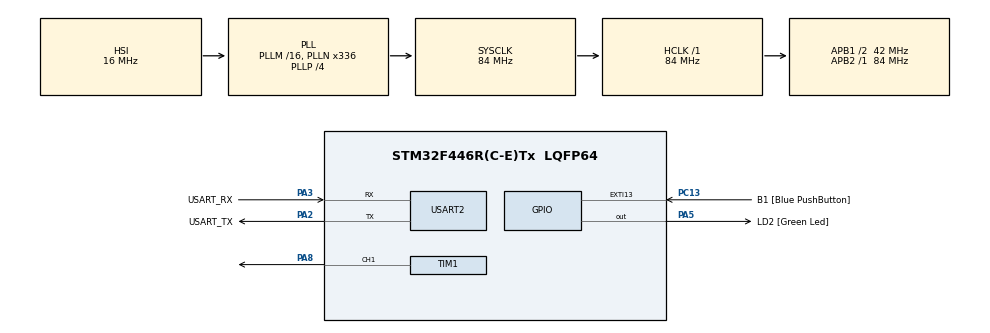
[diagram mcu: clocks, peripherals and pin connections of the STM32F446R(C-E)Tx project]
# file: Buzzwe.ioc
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Mcu.Family=STM32F4
Mcu.Name=STM32F446R(C-E)Tx
Mcu.Package=LQFP64
NVIC.PriorityGroup=NVIC_PRIORITYGROUP_0
PA13.GPIO_Label=TMS
PA13.Mode=Serial_Wire
PA13.Signal=SYS_JTMS-SWDIO
PA14.GPIO_Label=TCK
PA14.Mode=Serial_Wire
PA14.Signal=SYS_JTCK-SWCLK
PA2.GPIO_Label=USART_TX
PA2.Mode=Asynchronous
PA2.Signal=USART2_TX
PA3.GPIO_Label=USART_RX
PA3.Mode=Asynchronous
PA3.Signal=USART2_RX
PA5.GPIO_Label=LD2 [Green Led]
PA5.Signal=GPIO_Output
PA8.Signal=S_TIM1_CH1
PB3.GPIO_Label=SWO
PB3.Signal=SYS_JTDO-SWO
PC13.GPIO_Label=B1 [Blue PushButton]
PC13.GPIO_ModeDefaultEXTI=GPIO_MODE_IT_FALLING
PC13.Signal=GPXTI13
PC14-OSC32_IN.Signal=RCC_OSC32_IN
PC15-OSC32_OUT.Signal=RCC_OSC32_OUT
PH0-OSC_IN.Signal=RCC_OSC_IN
PH1-OSC_OUT.Signal=RCC_OSC_OUT
ProjectManager.HeapSize=0x200
ProjectManager.StackSize=0x400
ProjectManager.TargetToolchain=STM32CubeIDE
RCC.48MHZClocksFreq_Value=84000000
RCC.AHBFreq_Value=84000000
RCC.APB1CLKDivider=RCC_HCLK_DIV2
RCC.APB1Freq_Value=42000000
RCC.APB1TimFreq_Value=84000000
RCC.APB2Freq_Value=84000000
RCC.APB2TimFreq_Value=84000000
RCC.CortexFreq_Value=84000000
RCC.FLatency-AdvancedSettings=FLASH_LATENCY_2
RCC.HCLKFreq_Value=84000000
RCC.HSE_VALUE=8000000
RCC.HSI_VALUE=16000000
RCC.PLLN=336
RCC.PLLP=RCC_PLLP_DIV4
RCC.SYSCLKFreq_VALUE=84000000
RCC.SYSCLKSource=RCC_SYSCLKSOURCE_PLLCLK
RCC.USBFreq_Value=168000000
RCC.VCOOutputFreq_Value=336000000
SH.S_TIM1_CH1.0=TIM1_CH1,PWM Generation1 CH1
TIM1.Channel-PWM\ Generation1\ CH1=TIM_CHANNEL_1
TIM1.Period=1000
TIM1.Prescaler=84-1
TIM1.Pulse-PWM\ Generation1\ CH1=500
USART2.VirtualMode=VM_ASYNC
VP_TIM1_VS_ClockSourceINT.Mode=Internal
board=NUCLEO-F446RE

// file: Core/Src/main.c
/* USER CODE BEGIN Header */
/**
  ******************************************************************************
  * @file           : main.c
  * @brief          : Main program body
  ******************************************************************************
  * @attention
  *
  * Copyright (c) 2026 STMicroelectronics.
  * All rights reserved.
  *
  * This software is licensed under terms that can be found in the LICENSE file
  * in the root directory of this software component.
  * If no LICENSE file comes with this software, it is provided AS-IS.
  *
  ******************************************************************************
  */
/* USER CODE END Header */
#include "main.h"

/* USER CODE BEGIN PD */
#define NOTE_C4  262
#define NOTE_CS4 277
#define NOTE_D4  294
#define NOTE_DS4 311
#define NOTE_E4  330
#define NOTE_F4  349
#define NOTE_FS4 370
#define NOTE_G4  392
#define NOTE_GS4 415
#define NOTE_A4  440
#define NOTE_AS4 466
#define NOTE_B4  494
#define NOTE_C5  523
#define NOTE_CS5 554
#define NOTE_D5  587
#define NOTE_DS5 622
#define NOTE_E5  659
#define NOTE_F5  698
#define NOTE_FS5 740
#define NOTE_G5  784
#define NOTE_GS5 831
#define NOTE_A5  880
#define NOTE_AS5 932
#define NOTE_B5  988
#define NOTE_C6  1047
#define NOTE_CS6 1109
#define NOTE_D6  1175
#define NOTE_DS6 1245
#define NOTE_E6  1319
#define NOTE_F6  1397
#define NOTE_FS6 1480
#define NOTE_G6  1568
#define NOTE_GS6 1661
#define NOTE_A6  1760
#define NOTE_AS6 1865
#define NOTE_B6  1976
#define NOTE_C7  2093
#define NOTE_CS7 2217
#define NOTE_D7  2349
#define NOTE_DS7 2489
#define NOTE_E7  2637
#define NOTE_F7  2794
#define NOTE_FS7 2960
#define NOTE_G7  3136
#define NOTE_GS7 3322
#define NOTE_A7  3520
#define NOTE_AS7 3729
#define NOTE_B7  3951
#define NOTE_AS3 233 // A#3 또는 Bb3
#define NOTE_B3  247 // B3
#define REST 0

// 음표 길이 정의 (밀리초)
#define WHOLE     1400      // 원래 2000
#define HALF      700       // 원래 1000
#define QUARTER 250      // 원래 500
#define EIGHTH  125       // 원래 250
#define SIXTEENTH 90        // 원래 125
/* USER CODE END PD */

TIM_HandleTypeDef htim1;

UART_HandleTypeDef huart2;

void SystemClock_Config(void);
static void MX_GPIO_Init(void);
static void MX_USART2_UART_Init(void);
static void MX_TIM1_Init(void);
/* USER CODE BEGIN PFP */
typedef struct {
    uint16_t frequency;
    uint16_t duration;
} Note;

const Note sans_theme[] = {
		{NOTE_D4, EIGHTH}, {NOTE_D4, EIGHTH}, {NOTE_D5, QUARTER}, {NOTE_A4, QUARTER},
		    {REST, EIGHTH}, {NOTE_GS4, EIGHTH}, {NOTE_G4, EIGHTH}, {NOTE_F4, EIGHTH},
		    {NOTE_D4, EIGHTH}, {NOTE_F4, EIGHTH}, {NOTE_G4, EIGHTH},

		    // 두 번째 구절
		    {NOTE_C4, EIGHTH}, {NOTE_C4, EIGHTH}, {NOTE_D5, QUARTER}, {NOTE_A4, QUARTER},
		    {REST, EIGHTH}, {NOTE_GS4, EIGHTH}, {NOTE_G4, EIGHTH}, {NOTE_F4, EIGHTH},
		    {NOTE_D4, EIGHTH}, {NOTE_F4, EIGHTH}, {NOTE_G4, EIGHTH},

		    // 세 번째 구절
		    {NOTE_B3, EIGHTH}, {NOTE_B3, EIGHTH}, {NOTE_D5, QUARTER}, {NOTE_A4, QUARTER},
		    {REST, EIGHTH}, {NOTE_GS4, EIGHTH}, {NOTE_G4, EIGHTH}, {NOTE_F4, EIGHTH},
		    {NOTE_D4, EIGHTH}, {NOTE_F4, EIGHTH}, {NOTE_G4, EIGHTH},

		    // 네 번째 구절
		    {NOTE_AS3, EIGHTH}, {NOTE_AS3, EIGHTH}, {NOTE_D5, QUARTER}, {NOTE_A4, QUARTER},
		    {REST, EIGHTH}, {NOTE_GS4, EIGHTH}, {NOTE_G4, EIGHTH}, {NOTE_F4, EIGHTH},
		    {NOTE_D4, EIGHTH}, {NOTE_F4, EIGHTH}, {NOTE_G4, EIGHTH}
};

const int sans_theme_length = sizeof(sans_theme) / sizeof(sans_theme[0]);

/* USER CODE END PV */
/* USER CODE BEGIN PFP */
void play_tone(uint16_t frequency, uint16_t duration);
void play_sans_theme(void) {
    for (int i = 0; i < sans_theme_length; i++) {
        play_tone(sans_theme[i].frequency, sans_theme[i].duration);
    }
}
/* USER CODE END PFP */

/* USER CODE BEGIN 0 */

void play_tone(uint16_t frequency, uint16_t duration) {
    if (frequency == 0) {
        // 무음일 때만 출력 정지
        __HAL_TIM_SET_COMPARE(&htim1, TIM_CHANNEL_1, 0);
    } else {
        uint32_t arr_value = 1000000 / frequency - 1;

        // 16비트 범위 제한 (혹시 모를 오버플로우 방지)
        if (arr_value > 65535) arr_value = 65535;

        __HAL_TIM_SET_AUTORELOAD(&htim1, arr_value);
        // Duty Cycle을 50%로 설정
        __HAL_TIM_SET_COMPARE(&htim1, TIM_CHANNEL_1, arr_value / 2);

        // PWM이 이미 켜져 있다면 굳이 Start를 다시 부를 필요가 없습니다.
    }

    HAL_Delay(duration);

    // 여기에서 PWM_Stop을 지워보세요.
    // 그러면 파형이 끊기지 않고 다음 음으로 바로 넘어갑니다.
}

/**
 * @brief 마리오 테마 음악 재생
 */
//void play_mario_theme(void) {
//    for (int i = 0; i < mario_theme_length; i++) {
//        play_tone(mario_theme[i].frequency, mario_theme[i].duration);
//    }
//}
/* USER CODE END 0 */

int main(void)
{

  /* MCU Configuration--------------------------------------------------------*/

  /* Reset of all peripherals, Initializes the Flash interface and the Systick. */
  HAL_Init();

  /* Configure the system clock */
  SystemClock_Config();

  /* Initialize all configured peripherals */
  MX_GPIO_Init();
  MX_USART2_UART_Init();
  MX_TIM1_Init();
  HAL_TIM_PWM_Start(&htim1, TIM_CHANNEL_1); // 여기서 한 번만 시작

  /* Infinite loop */
  /* USER CODE BEGIN WHILE */
  while (1)
  {
	  // 마리오 테마 음악 재생
	  play_sans_theme(); // 마리오 대신 샌즈 테마 재생
	      HAL_Delay(1000);   // 곡 사이 대기 시간 1초
    /* USER CODE END WHILE */

  }
}

void SystemClock_Config(void)
{
  RCC_OscInitTypeDef RCC_OscInitStruct = {0};
  RCC_ClkInitTypeDef RCC_ClkInitStruct = {0};

  /** Configure the main internal regulator output voltage
  */
  __HAL_RCC_PWR_CLK_ENABLE();
  __HAL_PWR_VOLTAGESCALING_CONFIG(PWR_REGULATOR_VOLTAGE_SCALE3);

  /** Initializes the RCC Oscillators according to the specified parameters
  * in the RCC_OscInitTypeDef structure.
  */
  RCC_OscInitStruct.OscillatorType = RCC_OSCILLATORTYPE_HSI;
  RCC_OscInitStruct.HSIState = RCC_HSI_ON;
  RCC_OscInitStruct.HSICalibrationValue = RCC_HSICALIBRATION_DEFAULT;
  RCC_OscInitStruct.PLL.PLLState = RCC_PLL_ON;
  RCC_OscInitStruct.PLL.PLLSource = RCC_PLLSOURCE_HSI;
  RCC_OscInitStruct.PLL.PLLM = 16;
  RCC_OscInitStruct.PLL.PLLN = 336;
  RCC_OscInitStruct.PLL.PLLP = RCC_PLLP_DIV4;
  RCC_OscInitStruct.PLL.PLLQ = 2;
  RCC_OscInitStruct.PLL.PLLR = 2;
  if (HAL_RCC_OscConfig(&RCC_OscInitStruct) != HAL_OK)
  {
    Error_Handler();
  }

  /** Initializes the CPU, AHB and APB buses clocks
  */
  RCC_ClkInitStruct.ClockType = RCC_CLOCKTYPE_HCLK|RCC_CLOCKTYPE_SYSCLK
                              |RCC_CLOCKTYPE_PCLK1|RCC_CLOCKTYPE_PCLK2;
  RCC_ClkInitStruct.SYSCLKSource = RCC_SYSCLKSOURCE_PLLCLK;
  RCC_ClkInitStruct.AHBCLKDivider = RCC_SYSCLK_DIV1;
  RCC_ClkInitStruct.APB1CLKDivider = RCC_HCLK_DIV2;
  RCC_ClkInitStruct.APB2CLKDivider = RCC_HCLK_DIV1;

  if (HAL_RCC_ClockConfig(&RCC_ClkInitStruct, FLASH_LATENCY_2) != HAL_OK)
  {
    Error_Handler();
  }
}

static void MX_TIM1_Init(void)
{

  TIM_ClockConfigTypeDef sClockSourceConfig = {0};
  TIM_MasterConfigTypeDef sMasterConfig = {0};
  TIM_OC_InitTypeDef sConfigOC = {0};
  TIM_BreakDeadTimeConfigTypeDef sBreakDeadTimeConfig = {0};

  htim1.Instance = TIM1;
  htim1.Init.Prescaler = 83;
  htim1.Init.CounterMode = TIM_COUNTERMODE_UP;
  htim1.Init.Period = 1000;
  htim1.Init.ClockDivision = TIM_CLOCKDIVISION_DIV1;
  htim1.Init.RepetitionCounter = 0;
  htim1.Init.AutoReloadPreload = TIM_AUTORELOAD_PRELOAD_DISABLE;
  if (HAL_TIM_Base_Init(&htim1) != HAL_OK)
  {
    Error_Handler();
  }
  sClockSourceConfig.ClockSource = TIM_CLOCKSOURCE_INTERNAL;
  if (HAL_TIM_ConfigClockSource(&htim1, &sClockSourceConfig) != HAL_OK)
  {
    Error_Handler();
  }
  if (HAL_TIM_PWM_Init(&htim1) != HAL_OK)
  {
    Error_Handler();
  }
  sMasterConfig.MasterOutputTrigger = TIM_TRGO_RESET;
  sMasterConfig.MasterSlaveMode = TIM_MASTERSLAVEMODE_DISABLE;
  if (HAL_TIMEx_MasterConfigSynchronization(&htim1, &sMasterConfig) != HAL_OK)
  {
    Error_Handler();
  }
  sConfigOC.OCMode = TIM_OCMODE_PWM1;
  sConfigOC.Pulse = 500;
  sConfigOC.OCPolarity = TIM_OCPOLARITY_HIGH;
  sConfigOC.OCNPolarity = TIM_OCNPOLARITY_HIGH;
  sConfigOC.OCFastMode = TIM_OCFAST_DISABLE;
  sConfigOC.OCIdleState = TIM_OCIDLESTATE_RESET;
  sConfigOC.OCNIdleState = TIM_OCNIDLESTATE_RESET;
  if (HAL_TIM_PWM_ConfigChannel(&htim1, &sConfigOC, TIM_CHANNEL_1) != HAL_OK)
  {
    Error_Handler();
  }
  sBreakDeadTimeConfig.OffStateRunMode = TIM_OSSR_DISABLE;
  sBreakDeadTimeConfig.OffStateIDLEMode = TIM_OSSI_DISABLE;
  sBreakDeadTimeConfig.LockLevel = TIM_LOCKLEVEL_OFF;
  sBreakDeadTimeConfig.DeadTime = 0;
  sBreakDeadTimeConfig.BreakState = TIM_BREAK_DISABLE;
  sBreakDeadTimeConfig.BreakPolarity = TIM_BREAKPOLARITY_HIGH;
  sBreakDeadTimeConfig.AutomaticOutput = TIM_AUTOMATICOUTPUT_DISABLE;
  if (HAL_TIMEx_ConfigBreakDeadTime(&htim1, &sBreakDeadTimeConfig) != HAL_OK)
  {
    Error_Handler();
  }
  HAL_TIM_MspPostInit(&htim1);

}

static void MX_USART2_UART_Init(void)
{

  huart2.Instance = USART2;
  huart2.Init.BaudRate = 115200;
  huart2.Init.WordLength = UART_WORDLENGTH_8B;
  huart2.Init.StopBits = UART_STOPBITS_1;
  huart2.Init.Parity = UART_PARITY_NONE;
  huart2.Init.Mode = UART_MODE_TX_RX;
  huart2.Init.HwFlowCtl = UART_HWCONTROL_NONE;
  huart2.Init.OverSampling = UART_OVERSAMPLING_16;
  if (HAL_UART_Init(&huart2) != HAL_OK)
  {
    Error_Handler();
  }

}

static void MX_GPIO_Init(void)
{
  GPIO_InitTypeDef GPIO_InitStruct = {0};

  /* GPIO Ports Clock Enable */
  __HAL_RCC_GPIOC_CLK_ENABLE();
  __HAL_RCC_GPIOH_CLK_ENABLE();
  __HAL_RCC_GPIOA_CLK_ENABLE();
  __HAL_RCC_GPIOB_CLK_ENABLE();

  /*Configure GPIO pin Output Level */
  HAL_GPIO_WritePin(LD2_GPIO_Port, LD2_Pin, GPIO_PIN_RESET);

  /*Configure GPIO pin : B1_Pin */
  GPIO_InitStruct.Pin = B1_Pin;
  GPIO_InitStruct.Mode = GPIO_MODE_IT_FALLING;
  GPIO_InitStruct.Pull = GPIO_NOPULL;
  HAL_GPIO_Init(B1_GPIO_Port, &GPIO_InitStruct);

  /*Configure GPIO pin : LD2_Pin */
  GPIO_InitStruct.Pin = LD2_Pin;
  GPIO_InitStruct.Mode = GPIO_MODE_OUTPUT_PP;
  GPIO_InitStruct.Pull = GPIO_NOPULL;
  GPIO_InitStruct.Speed = GPIO_SPEED_FREQ_LOW;
  HAL_GPIO_Init(LD2_GPIO_Port, &GPIO_InitStruct);

}

void Error_Handler(void)
{
  __disable_irq();
  while (1)
  {
  }
}
